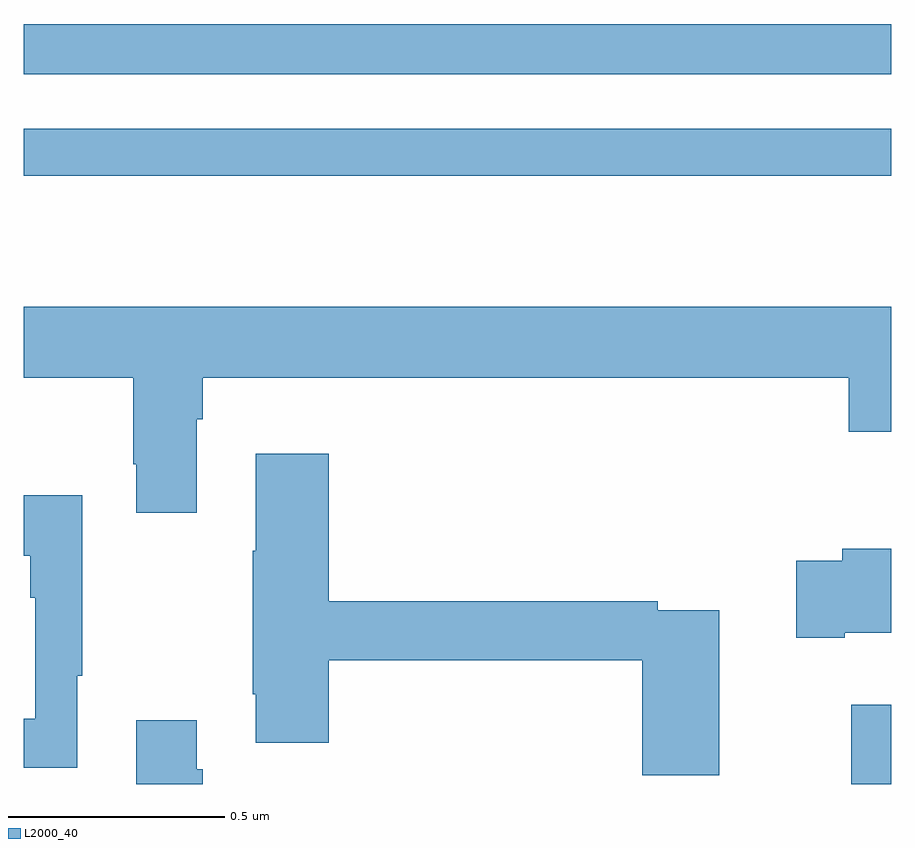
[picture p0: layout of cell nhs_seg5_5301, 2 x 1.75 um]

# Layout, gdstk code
import gdstk
lib = gdstk.Library(unit=1e-6, precision=1e-09)
def R(c, l, rs):  # rectangles x0, y0, x1, y1
    for r in rs: c.add(gdstk.rectangle(r[:2], r[2:], *l))
def P(c, l, *ps):  # polygons
    for p in ps: c.add(gdstk.Polygon(p, *l))
L2000_40 = (2000, 40)

nhs_seg5_5301 = lib.new_cell('nhs_seg5_5301')
R(nhs_seg5_5301, L2000_40, [(182.908,879.799,183,879.982), (181,881.202,183,881.31), (181,881.436,183,881.552)])
P(nhs_seg5_5301, L2000_40, [(181.399,880.64),(181.412,880.64),(181.412,880.736),(182.903,880.736),(182.903,880.612),(183,880.612),(183,880.9),(181,880.9),(181,880.736),(181.252,880.736),(181.252,880.537),(181.259,880.537),(181.259,880.425),(181.399,880.425)],
  [(182.604,880.2),(182.462,880.2),(182.462,880.22),(181.703,880.22),(181.703,880.561),(181.535,880.561),(181.535,880.337),(181.528,880.337),(181.528,880.006),(181.535,880.006),(181.535,879.894),(181.703,879.894),(181.703,880.084),(182.426,880.084),(182.426,879.819),(182.604,879.819)],
  [(181.123,880.049),(181.135,880.049),(181.135,880.465),(181,880.465),(181,880.325),(181.014,880.325),(181.014,880.229),(181.026,880.229),(181.026,879.95),(181,879.95),(181,879.837),(181.123,879.837)],
  [(182.893,880.148),(183,880.148),(183,880.342),(182.888,880.342),(182.888,880.314),(182.781,880.314),(182.781,880.136),(182.893,880.136)],
  [(181.412,879.833),(181.399,879.833),(181.399,879.946),(181.259,879.946),(181.259,879.799),(181.412,879.799)])

lib.write_gds('nhs_seg5_5301.gds')
